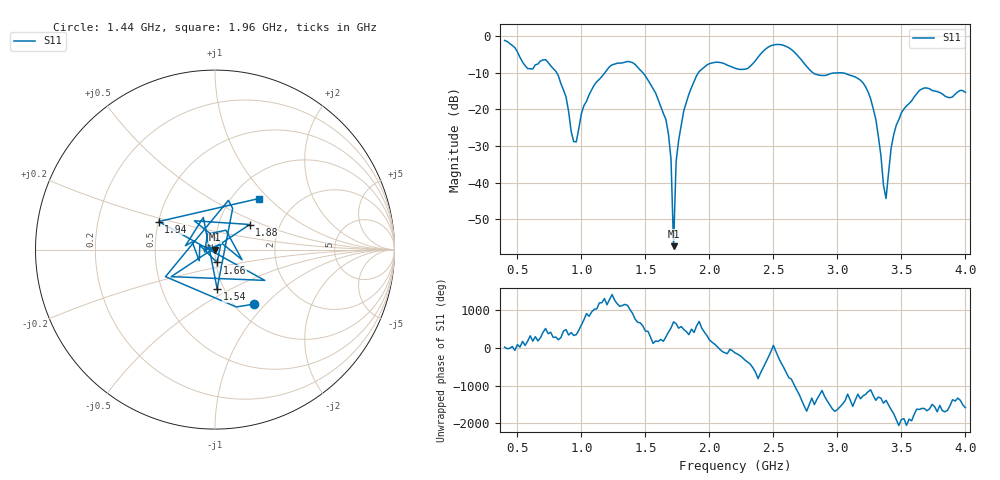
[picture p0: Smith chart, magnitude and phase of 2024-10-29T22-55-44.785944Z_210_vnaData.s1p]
!Created with skrf (http://scikit-rf.org).
# Hz S RI R 50.0
!freq ReS11 ImS11
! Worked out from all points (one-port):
!   181 points, 400 MHz to 4 GHz, reference 50 ohm
!   lowest |S11| = -57.3 dB at 1.72 GHz (marker M1), VSWR 1.00, Z = 50.1 - j0.0936 ohm
!   |S11| at or under -10 dB: 806 MHz to 1.185 GHz (378.7 MHz wide, 38 % of centre); 1.478 GHz to 1.915 GHz (436.8 MHz wide, 25.7 % of centre); 2.806 GHz to end of sweep
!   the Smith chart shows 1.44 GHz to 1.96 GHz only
!   S11 on the Smith chart (normalised r, x): 1.44 GHz: 1.22, -0.86; 1.54 GHz: 0.93, -0.43; 1.66 GHz: 1.01, -0.15; 1.88 GHz: 1.41, +0.42; 1.94 GHz: 0.50, +0.18; 1.96 GHz: 1.31, +0.87
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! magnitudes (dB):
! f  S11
! 400 MHz  -1.3
! 580 MHz  -8.9
! 720 MHz  -6.5
! 860 MHz  -14.8
! 960 MHz  -28.9
! 1.1 GHz  -13.4
! 1.3 GHz  -7.4
! 1.44 GHz  -8.6
! 1.54 GHz  -13.2
! 1.66 GHz  -22.8
! 1.7 GHz  -33.6
! 1.72 GHz  -57.3
! 1.74 GHz  -34.2
! 1.76 GHz  -28.4
! 1.88 GHz  -12.4
! 1.94 GHz  -9.1
! 1.96 GHz  -8.6
! 2.2 GHz  -8.8
! 2.66 GHz  -4.3
! 2.82 GHz  -10.4
! 3.1 GHz  -10.8
! 3.26 GHz  -17.2
! 3.3 GHz  -22.7
! 3.38 GHz  -44.3
! 3.44 GHz  -26.9
! 3.56 GHz  -18.5
! 3.68 GHz  -14.2
! 4 GHz  -15.4
